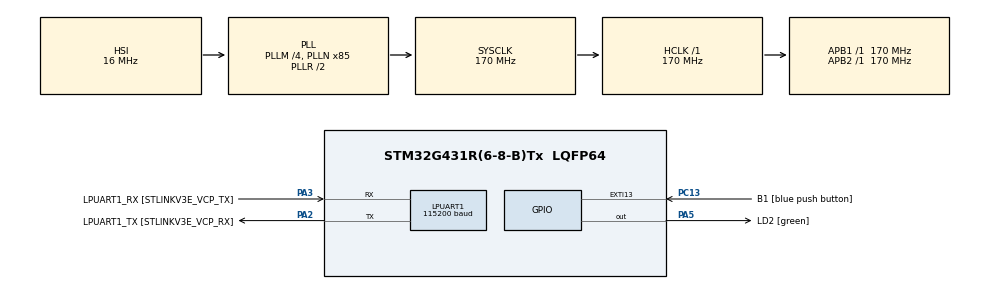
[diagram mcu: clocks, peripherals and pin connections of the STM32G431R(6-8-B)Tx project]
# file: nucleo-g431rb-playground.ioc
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LPUART1.BaudRate=115200
LPUART1.WordLength=UART_WORDLENGTH_8B
Mcu.Family=STM32G4
Mcu.Name=STM32G431R(6-8-B)Tx
Mcu.Package=LQFP64
NVIC.LPUART1_IRQn=true\:0\:0\:false\:false\:true\:true\:true\:true
NVIC.PriorityGroup=NVIC_PRIORITYGROUP_4
PA13.GPIO_Label=T_SWDIO
PA13.Mode=Serial_Wire
PA13.Signal=SYS_JTMS-SWDIO
PA14.GPIO_Label=T_SWCLK
PA14.Mode=Serial_Wire
PA14.Signal=SYS_JTCK-SWCLK
PA2.GPIO_Label=LPUART1_TX [STLINKV3E_VCP_RX]
PA2.Mode=Asynchronous
PA2.Signal=LPUART1_TX
PA3.GPIO_Label=LPUART1_RX [STLINKV3E_VCP_TX]
PA3.Mode=Asynchronous
PA3.Signal=LPUART1_RX
PA5.GPIO_Label=LD2 [green]
PA5.Signal=GPIO_Output
PB3.GPIO_Label=T_SWO
PB3.Signal=SYS_JTDO-SWO
PC13.GPIO_Label=B1 [blue push button]
PC13.Signal=GPXTI13
PC14-OSC32_IN.Mode=LSE-External-Oscillator
PC14-OSC32_IN.Signal=RCC_OSC32_IN
PC15-OSC32_OUT.Mode=LSE-External-Oscillator
PC15-OSC32_OUT.Signal=RCC_OSC32_OUT
PF0-OSC_IN.Mode=HSE-External-Oscillator
PF0-OSC_IN.Signal=RCC_OSC_IN
PF1-OSC_OUT.Mode=HSE-External-Oscillator
PF1-OSC_OUT.Signal=RCC_OSC_OUT
ProjectManager.HeapSize=0x200
ProjectManager.StackSize=0x400
ProjectManager.TargetToolchain=STM32CubeIDE
RCC.ADC12Freq_Value=170000000
RCC.AHBFreq_Value=170000000
RCC.APB1Freq_Value=170000000
RCC.APB1TimFreq_Value=170000000
RCC.APB2Freq_Value=170000000
RCC.APB2TimFreq_Value=170000000
RCC.CortexFreq_Value=170000000
RCC.EXTERNAL_CLOCK_VALUE=12288000
RCC.HCLKFreq_Value=170000000
RCC.HSE_VALUE=24000000
RCC.HSI48_VALUE=48000000
RCC.HSI_VALUE=16000000
RCC.PLLM=RCC_PLLM_DIV4
RCC.PLLN=85
RCC.RTCClockSelection=RCC_RTCCLKSOURCE_LSE
RCC.SYSCLKFreq_VALUE=170000000
RCC.SYSCLKSource=RCC_SYSCLKSOURCE_PLLCLK
RCC.USBFreq_Value=170000000
RCC.VCOOutputFreq_Value=340000000
VP_SYS_VS_DBSignals.Mode=DisableDeadBatterySignals
board=NUCLEO-G431RB

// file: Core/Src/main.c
/* USER CODE BEGIN Header */
/**
  ******************************************************************************
  * @file           : main.c
  * @brief          : Main program body
  ******************************************************************************
  * @attention
  *
  * Copyright (c) 2023 STMicroelectronics.
  * All rights reserved.
  *
  * This software is licensed under terms that can be found in the LICENSE file
  * in the root directory of this software component.
  * If no LICENSE file comes with this software, it is provided AS-IS.
  *
  ******************************************************************************
  */
/* USER CODE END Header */
#include "main.h"

UART_HandleTypeDef hlpuart1;

/* USER CODE BEGIN PV */
const uint8_t endl = '\n';

uint8_t buffer[99];
uint8_t ind = 0;
uint8_t data;

/* USER CODE END PV */

void SystemClock_Config(void);

static void MX_GPIO_Init(void);

static void MX_LPUART1_UART_Init(void);

int main(void) {

    /* MCU Configuration--------------------------------------------------------*/

    /* Reset of all peripherals, Initializes the Flash interface and the Systick. */
    HAL_Init();

    /* Configure the system clock */
    SystemClock_Config();

    /* Initialize all configured peripherals */
    MX_GPIO_Init();
    MX_LPUART1_UART_Init();
    /* USER CODE BEGIN 2 */
    HAL_UART_Receive_IT(&hlpuart1, &data, sizeof(data));

    /* USER CODE END 2 */

    /* Infinite loop */
    /* USER CODE BEGIN WHILE */
    while (1) {
        HAL_GPIO_TogglePin(GPIOA, GPIO_PIN_5);
        HAL_Delay(1000);
        /* USER CODE END WHILE */

    }
}

void SystemClock_Config(void) {
    RCC_OscInitTypeDef RCC_OscInitStruct = {0};
    RCC_ClkInitTypeDef RCC_ClkInitStruct = {0};

    /** Configure the main internal regulator output voltage
    */
    HAL_PWREx_ControlVoltageScaling(PWR_REGULATOR_VOLTAGE_SCALE1_BOOST);

    /** Initializes the RCC Oscillators according to the specified parameters
    * in the RCC_OscInitTypeDef structure.
    */
    RCC_OscInitStruct.OscillatorType = RCC_OSCILLATORTYPE_HSI;
    RCC_OscInitStruct.HSIState = RCC_HSI_ON;
    RCC_OscInitStruct.HSICalibrationValue = RCC_HSICALIBRATION_DEFAULT;
    RCC_OscInitStruct.PLL.PLLState = RCC_PLL_ON;
    RCC_OscInitStruct.PLL.PLLSource = RCC_PLLSOURCE_HSI;
    RCC_OscInitStruct.PLL.PLLM = RCC_PLLM_DIV4;
    RCC_OscInitStruct.PLL.PLLN = 85;
    RCC_OscInitStruct.PLL.PLLP = RCC_PLLP_DIV2;
    RCC_OscInitStruct.PLL.PLLQ = RCC_PLLQ_DIV2;
    RCC_OscInitStruct.PLL.PLLR = RCC_PLLR_DIV2;
    if (HAL_RCC_OscConfig(&RCC_OscInitStruct) != HAL_OK) {
        Error_Handler();
    }

    /** Initializes the CPU, AHB and APB buses clocks
    */
    RCC_ClkInitStruct.ClockType = RCC_CLOCKTYPE_HCLK | RCC_CLOCKTYPE_SYSCLK
                                  | RCC_CLOCKTYPE_PCLK1 | RCC_CLOCKTYPE_PCLK2;
    RCC_ClkInitStruct.SYSCLKSource = RCC_SYSCLKSOURCE_PLLCLK;
    RCC_ClkInitStruct.AHBCLKDivider = RCC_SYSCLK_DIV1;
    RCC_ClkInitStruct.APB1CLKDivider = RCC_HCLK_DIV1;
    RCC_ClkInitStruct.APB2CLKDivider = RCC_HCLK_DIV1;

    if (HAL_RCC_ClockConfig(&RCC_ClkInitStruct, FLASH_LATENCY_4) != HAL_OK) {
        Error_Handler();
    }
}

static void MX_LPUART1_UART_Init(void) {

    hlpuart1.Instance = LPUART1;
    hlpuart1.Init.BaudRate = 115200;
    hlpuart1.Init.WordLength = UART_WORDLENGTH_8B;
    hlpuart1.Init.StopBits = UART_STOPBITS_1;
    hlpuart1.Init.Parity = UART_PARITY_NONE;
    hlpuart1.Init.Mode = UART_MODE_TX_RX;
    hlpuart1.Init.HwFlowCtl = UART_HWCONTROL_NONE;
    hlpuart1.Init.OneBitSampling = UART_ONE_BIT_SAMPLE_DISABLE;
    hlpuart1.Init.ClockPrescaler = UART_PRESCALER_DIV1;
    hlpuart1.AdvancedInit.AdvFeatureInit = UART_ADVFEATURE_NO_INIT;
    if (HAL_UART_Init(&hlpuart1) != HAL_OK) {
        Error_Handler();
    }
    if (HAL_UARTEx_SetTxFifoThreshold(&hlpuart1, UART_TXFIFO_THRESHOLD_1_8) != HAL_OK) {
        Error_Handler();
    }
    if (HAL_UARTEx_SetRxFifoThreshold(&hlpuart1, UART_RXFIFO_THRESHOLD_1_8) != HAL_OK) {
        Error_Handler();
    }
    if (HAL_UARTEx_DisableFifoMode(&hlpuart1) != HAL_OK) {
        Error_Handler();
    }

}

static void MX_GPIO_Init(void) {
    GPIO_InitTypeDef GPIO_InitStruct = {0};

    /* GPIO Ports Clock Enable */
    __HAL_RCC_GPIOC_CLK_ENABLE();
    __HAL_RCC_GPIOF_CLK_ENABLE();
    __HAL_RCC_GPIOA_CLK_ENABLE();
    __HAL_RCC_GPIOB_CLK_ENABLE();

    /*Configure GPIO pin Output Level */
    HAL_GPIO_WritePin(LD2_GPIO_Port, LD2_Pin, GPIO_PIN_RESET);

    /*Configure GPIO pin : B1_Pin */
    GPIO_InitStruct.Pin = B1_Pin;
    GPIO_InitStruct.Mode = GPIO_MODE_IT_RISING;
    GPIO_InitStruct.Pull = GPIO_NOPULL;
    HAL_GPIO_Init(B1_GPIO_Port, &GPIO_InitStruct);

    /*Configure GPIO pin : LD2_Pin */
    GPIO_InitStruct.Pin = LD2_Pin;
    GPIO_InitStruct.Mode = GPIO_MODE_OUTPUT_PP;
    GPIO_InitStruct.Pull = GPIO_NOPULL;
    GPIO_InitStruct.Speed = GPIO_SPEED_FREQ_LOW;
    HAL_GPIO_Init(LD2_GPIO_Port, &GPIO_InitStruct);

}

/* USER CODE BEGIN 4 */
void HAL_UART_RxCpltCallback(UART_HandleTypeDef *huart) {
    /* Prevent unused argument(s) compilation warning */
    // UNUSED(huart);

    // HAL_NVIC_SystemReset();

    if (huart->Instance == LPUART1) {
        if (!ind) {
            for (uint8_t i = 0; i < (uint8_t)(sizeof(buffer) / sizeof(uint8_t)); i++) {
                buffer[i] = 0;
            }
        }
        /* Check if incoming data is newline character */
        if (data != 10) {
            buffer[ind] = data;
            ind++;
        } else {
            uint8_t response[ind];
            for (uint8_t i = 0; i < ind; i++) response[i] = buffer[i];
            HAL_UART_Transmit(&hlpuart1, response, sizeof(response) / sizeof(uint8_t), 10);
            HAL_UART_Transmit(&hlpuart1, &endl, sizeof(endl), 10);
            ind = 0;
        }

        /* Receive with interrupt */
        HAL_UART_Receive_IT(&hlpuart1, &data, sizeof(data));
    }

}

/* USER CODE END 4 */

void Error_Handler(void) {
    __disable_irq();
    while (1) {
    }
}
